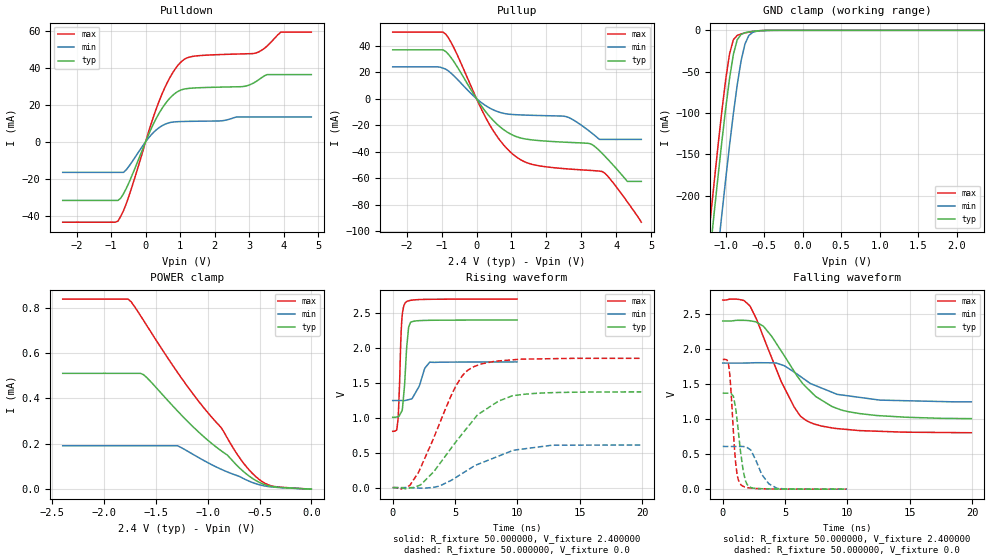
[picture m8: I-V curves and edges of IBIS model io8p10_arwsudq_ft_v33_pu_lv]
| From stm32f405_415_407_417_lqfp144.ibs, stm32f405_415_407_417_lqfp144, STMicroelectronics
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|   Model io8p10_arwsudq_ft_v33_pu_lv
[Model]  io8p10_arwsudq_ft_v33_pu_lv
Model_type I/O
Polarity   Non-Inverting
Enable   Active-Low
Vinl =   0.720000V
Vinh =   1.680000V
Vmeas =  1.200000V
Cref =   40.000000pF
Rref =   100.000000M
Vref =   0.0V
C_comp   2.828400pF   2.771400pF   2.910300pF
[Temperature Range]   25.000000   0.125000k   -40.000000
[Pullup Reference]   2.400000V   1.800000V   2.700000V
[Pulldown Reference]   0.0V   0.0V   0.0V
[POWER Clamp Reference]   2.400000V   1.800000V   2.700000V
[GND Clamp Reference]   0.0V   0.0V   0.0V
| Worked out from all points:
|   slope of the pulldown table from 0 to 0.36 V, typ, clamps not added: 25 ohm
|   slope of the pullup table from 0 to 0.36 V, typ, clamps not added: 27.7 ohm
|   GND clamp passes 1 mA (typ) near -0.62 V on its own axis
|   rising waveform, R_fixture 50.000000, V_fixture 2.400000: 20-80 % time 323ps typ, 714ps min, 222ps max; typ from 1.01 V to 2.4 V
|   rising waveform, R_fixture 50.000000, V_fixture 0.0: 20-80 % time 3.77ns typ, 4.15ns min, 2.7ns max; typ from 0.001 V to 1.37 V
|   falling waveform, R_fixture 50.000000, V_fixture 2.400000: 20-80 % time 3.65ns typ, 3.54ns min, 2.75ns max; typ from 2.4 V to 1.01 V
|   falling waveform, R_fixture 50.000000, V_fixture 0.0: 20-80 % time 553ps typ, 1.06ns min, 409ps max; typ from 1.37 V to 0.001 V
[Pulldown]
|Voltage   I(typ)   I(min)   I(max)
-2.4V     -31.66mA   -16.51mA   -43.42mA
-800mV    -31.66mA   -16.51mA   -42.86mA
-480mV    -21.98mA   -13.17mA   -29.21mA
80mV      3.63mA     1.966mA    5.014mA
480mV     18.16mA    8.738mA    26.02mA
800mV     25.38mA    10.72mA    37.77mA
1.12V     28.53mA    11.02mA    44.6mA
2.8V      29.84mA    13.46mA    47.53mA
3.2V      32.6mA     13.46mA    48.03mA
3.52V     36.33mA    13.46mA    51.75mA
3.92V     36.33mA    13.46mA    59.31mA
4.8V      36.33mA    13.46mA    59.31mA
[Pullup]
|Voltage   I(typ)   I(min)   I(max)
-2.4V     36.82mA    24mA       50.22mA
-960mV    36.82mA    23.02mA    50.22mA
-640mV    27.62mA    17.03mA    37.94mA
320mV     -11.75mA   -6.207mA   -17.08mA
640mV     -20.52mA   -10.1mA    -30.35mA
960mV     -26.47mA   -11.82mA   -40.02mA
1.52V     -30.88mA   -12.51mA   -49.05mA
2.56V     -32.88mA   -13.48mA   -52.9mA
3.28V     -34.2mA    -25.51mA   -54.17mA
3.6V      -41.33mA   -30.75mA   -54.99mA
4.32V     -62.42mA   -30.75mA   -77.88mA
4.72V     -62.42mA   -30.75mA   -93.2mA
[GND_clamp]
|Voltage   I(typ)   I(min)   I(max)
-2.4V     -1.428A    -1.51A     -1.401A
-1.2V     -266.4mA   -356.3mA   -229.4mA
-1.15V    -221.3mA   -311mA     -184.1mA
-1.1V     -177.3mA   -266.4mA   -140mA
-1.05V    -134.8mA   -222.7mA   -97.97mA
-950mV    -58.22mA   -139.2mA   -28.55mA
-900mV    -29.03mA   -100.6mA   -11.27mA
-850mV    -11.41mA   -65.77mA   -6.067mA
-750mV    -2.852mA   -16.63mA   -3.179mA
-700mV    -1.914mA   -6.318mA   -2.181mA
-600mV    -750uA     -1.167mA   -738.3uA
2.35V     0A         0A         0A
[POWER_clamp]
|Voltage   I(typ)   I(min)   I(max)
-2.4V     511uA      191.4uA    838.7uA
-1.77V    511uA      191.4uA    838.7uA
-1.74V    511uA      191.4uA    826.9uA
-1.62V    505.2uA    191.4uA    744.6uA
-1.29V    344.1uA    191.4uA    514uA
-1.08V    248.7uA    137.3uA    383.1uA
-870mV    169.3uA    87.75uA    271.7uA
-720mV    105.7uA    60.5uA     157.1uA
-570mV    47.98uA    29.54uA    70.06uA
-480mV    25.17uA    16.94uA    35.08uA
-390mV    12.49uA    10.17uA    15.15uA
0V        0A         0A         0A
[Ramp]
| variable   typ   min   max
dV/dt_r  0.82201/3.77383n   0.36585/4.15344n   1.11107/2.69969n
dV/dt_f  0.83238/3.64996n   0.33372/3.61040n   1.13579/2.75561n
R_load = 50.000000
[Rising Waveform]
R_fixture= 50.000000
V_fixture= 2.400000
V_fixture_min= 1.800000
V_fixture_max= 2.700000
|time   V(typ)   V(min)   V(max)
0s        1.007V     1.247V     806mV
320.3ps   1.012V     1.247V     824.6mV
440.4ps   1.017V     1.247V     998.1mV
720.7ps   1.092V     1.247V     2.372V
940.9ps   1.446V     1.247V     2.624V
1.041ns   1.757V     1.25V      2.652V
1.281ns   2.3V       1.26V      2.675V
1.441ns   2.368V     1.267V     2.682V
2.963ns   2.396V     1.795V     2.696V
9.97ns    2.4V       1.8V       2.7V
[Rising Waveform]
R_fixture= 50.000000
V_fixture= 0.0
V_fixture_min= 0.0
V_fixture_max= 0.0
|time   V(typ)   V(min)   V(max)
0s        956.5uV    874.7uV    1.143mV
1.361ns   -5.414mV   361.4uV    30.76mV
2.082ns   28.52mV    -5.67mV    222.5mV
4.765ns   583.3mV    112.7mV    1.349V
5.566ns   767.5mV    202.2mV    1.597V
6.326ns   937.1mV    287.2mV    1.715V
8.448ns   1.235V     448.8mV    1.814V
9.57ns    1.314V     528.3mV    1.829V
12.77ns   1.36V      607.7mV    1.846V
19.94ns   1.371V     610.3mV    1.852V
[Falling Waveform]
R_fixture= 50.000000
V_fixture= 2.400000
V_fixture_min= 1.800000
V_fixture_max= 2.700000
|time   V(typ)   V(min)   V(max)
0s        2.4V       1.8V       2.7V
1.682ns   2.41V      1.8V       2.693V
2.202ns   2.403V     1.802V     2.61V
3.283ns   2.322V     1.805V     2.165V
4.725ns   1.964V     1.776V     1.525V
6.166ns   1.568V     1.618V     1.058V
6.847ns   1.43V      1.532V     966.9mV
8.729ns   1.184V     1.386V     876.4mV
10.13ns   1.105V     1.331V     849.9mV
19.94ns   1.007V     1.247V     806mV
[Falling Waveform]
R_fixture= 50.000000
V_fixture= 0.0
V_fixture_min= 0.0
V_fixture_max= 0.0
|time   V(typ)   V(min)   V(max)
0s        1.371V     610.3mV    1.852V
460.5ps   1.371V     610.2mV    1.791V
660.7ps   1.367V     610.1mV    1.413V
1.041ns   1.153V     609.9mV    371.2mV
1.481ns   470.1mV    610.9mV    61.26mV
1.822ns   123mV      606.8mV    29.71mV
2.302ns   21.77mV    542.6mV    16.15mV
3.143ns   6.954mV    207.9mV    7.339mV
4.364ns   3.523mV    11.87mV    3.113mV
9.97ns    956.5uV    874.7uV    1.143mV
